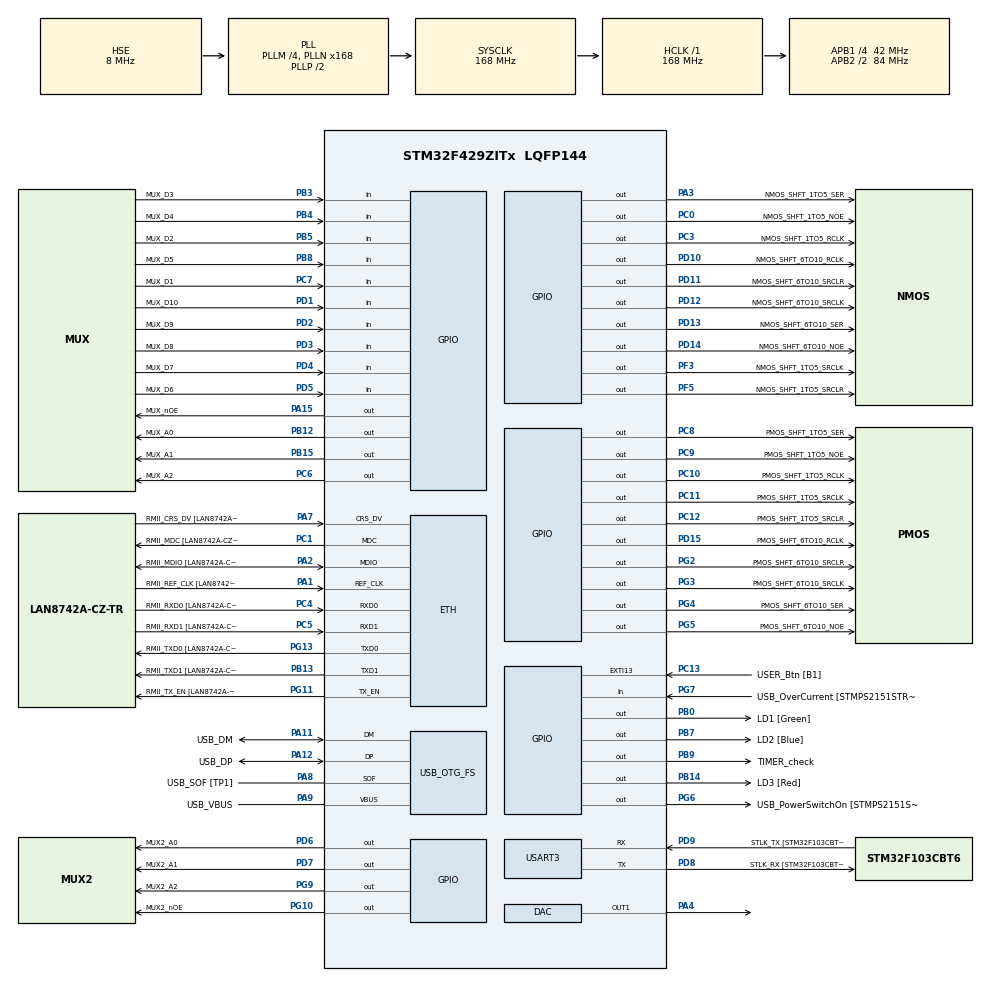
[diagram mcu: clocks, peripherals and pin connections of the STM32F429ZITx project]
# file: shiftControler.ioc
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ETH.MACAddr=00\:80\:E1\:01\:23\:45
ETH.MediaInterface=HAL_ETH_RMII_MODE
ETH.PHY_Name=LAN8742A_PHY_ADDRESS
ETH.PHY_Value=0
ETH.PhyAddress=0
FREERTOS.Tasks01=defaultTask,0,8192,StartDefaultTask,Default,NULL,Dynamic,NULL,NULL
FREERTOS.configRECORD_STACK_HIGH_ADDRESS=1
FREERTOS.configTOTAL_HEAP_SIZE=65536
FREERTOS.configUSE_NEWLIB_REENTRANT=0
LWIP.BSP.number=1
LWIP.GATEWAY_ADDRESS=192.168.000.001
LWIP.IP_ADDRESS=192.168.000.069
LWIP.LWIP_DHCP=1
LWIP.LWIP_IPV6=0
LWIP.LWIP_SNTP=0
LWIP.MEM_SIZE=1600
LWIP.NETMASK_ADDRESS=255.255.255.000
LWIP.Version=v2.1.2_Cube
LWIP0.BSP.STBoard=false
LWIP0.BSP.api=BSP_COMPONENT_DRIVER
LWIP0.BSP.component=LAN8742
LWIP0.BSP.instance=LAN8742
LWIP0.BSP.name=Driver_PHY
LWIP0.BSP.semaphore=S_LAN8742
LWIP0.BSP.solution=LAN8742
Mcu.Family=STM32F4
Mcu.Name=STM32F429ZITx
Mcu.Package=LQFP144
NVIC.ETH_IRQn=true\:5\:0\:false\:false\:true\:true\:false\:true\:true
NVIC.PriorityGroup=NVIC_PRIORITYGROUP_4
NVIC.TIM1_TRG_COM_TIM11_IRQn=true\:5\:0\:true\:false\:true\:true\:true\:true\:true
NVIC.TIM8_TRG_COM_TIM14_IRQn=true\:15\:0\:false\:false\:true\:false\:false\:true\:true
NVIC.TimeBase=TIM8_TRG_COM_TIM14_IRQn
NVIC.TimeBaseIP=TIM14
PA1.GPIO_Label=RMII_REF_CLK [LAN8742A-CZ-TR_REFCLK0]
PA1.Mode=RMII
PA1.Signal=ETH_REF_CLK
PA10.GPIO_Label=USB_ID
PA10.Signal=USB_OTG_FS_ID
PA11.GPIO_Label=USB_DM
PA11.Mode=Device_Only
PA11.Signal=USB_OTG_FS_DM
PA12.GPIO_Label=USB_DP
PA12.Mode=Device_Only
PA12.Signal=USB_OTG_FS_DP
PA13.GPIO_Label=TMS
PA13.Mode=Serial_Wire
PA13.Signal=SYS_JTMS-SWDIO
PA14.GPIO_Label=TCK
PA14.Mode=Serial_Wire
PA14.Signal=SYS_JTCK-SWCLK
PA15.GPIO_Label=MUX_nOE
PA15.Signal=GPIO_Output
PA2.GPIO_Label=RMII_MDIO [LAN8742A-CZ-TR_MDIO]
PA2.Mode=RMII
PA2.Signal=ETH_MDIO
PA3.GPIO_Label=NMOS_SHFT_1TO5_SER
PA3.GPIO_Speed=GPIO_SPEED_FREQ_HIGH
PA3.Signal=GPIO_Output
PA4.Signal=COMP_DAC1_group
PA7.GPIO_Label=RMII_CRS_DV [LAN8742A-CZ-TR_CRS_DV]
PA7.Mode=RMII
PA7.Signal=ETH_CRS_DV
PA8.GPIO_Label=USB_SOF [TP1]
PA8.Mode=Activate_SOF_FS
PA8.Signal=USB_OTG_FS_SOF
PA9.GPIO_Label=USB_VBUS
PA9.Mode=Activate_VBUS
PA9.Signal=USB_OTG_FS_VBUS
PB0.GPIO_Label=LD1 [Green]
PB0.Signal=GPIO_Output
PB12.GPIO_Label=MUX_A0
PB12.GPIO_Speed=GPIO_SPEED_FREQ_HIGH
PB12.Signal=GPIO_Output
PB13.GPIO_Label=RMII_TXD1 [LAN8742A-CZ-TR_TXD1]
PB13.Mode=RMII
PB13.Signal=ETH_TXD1
PB14.GPIO_Label=LD3 [Red]
PB14.Signal=GPIO_Output
PB15.GPIO_Label=MUX_A1
PB15.GPIO_Speed=GPIO_SPEED_FREQ_HIGH
PB15.Signal=GPIO_Output
PB3.GPIO_Label=MUX_D3
PB3.Signal=GPIO_Input
PB4.GPIO_Label=MUX_D4
PB4.Signal=GPIO_Input
PB5.GPIO_Label=MUX_D2
PB5.Signal=GPIO_Input
PB7.GPIO_Label=LD2 [Blue]
PB7.Signal=GPIO_Output
PB8.GPIO_Label=MUX_D5
PB8.Signal=GPIO_Input
PB9.GPIO_Label=TIMER_check
PB9.GPIO_Speed=GPIO_SPEED_FREQ_VERY_HIGH
PB9.Signal=GPIO_Output
PC0.GPIO_Label=NMOS_SHFT_1TO5_NOE
PC0.GPIO_Speed=GPIO_SPEED_FREQ_HIGH
PC0.Signal=GPIO_Output
PC1.GPIO_Label=RMII_MDC [LAN8742A-CZ-TR_MDC]
PC1.Mode=RMII
PC1.Signal=ETH_MDC
PC10.GPIO_Label=PMOS_SHFT_1TO5_RCLK
PC10.Signal=GPIO_Output
PC11.GPIO_Label=PMOS_SHFT_1TO5_SRCLK
PC11.Signal=GPIO_Output
PC12.GPIO_Label=PMOS_SHFT_1TO5_SRCLR
PC12.Signal=GPIO_Output
PC13.GPIO_Label=USER_Btn [B1]
PC13.Signal=GPXTI13
PC14/OSC32_IN.Mode=LSE-External-Oscillator
PC14/OSC32_IN.Signal=RCC_OSC32_IN
PC15/OSC32_OUT.Mode=LSE-External-Oscillator
PC15/OSC32_OUT.Signal=RCC_OSC32_OUT
PC3.GPIO_Label=NMOS_SHFT_1TO5_RCLK
PC3.GPIO_Speed=GPIO_SPEED_FREQ_HIGH
PC3.Signal=GPIO_Output
PC4.GPIO_Label=RMII_RXD0 [LAN8742A-CZ-TR_RXD0]
PC4.Mode=RMII
PC4.Signal=ETH_RXD0
PC5.GPIO_Label=RMII_RXD1 [LAN8742A-CZ-TR_RXD1]
PC5.Mode=RMII
PC5.Signal=ETH_RXD1
PC6.GPIO_Label=MUX_A2
PC6.GPIO_Speed=GPIO_SPEED_FREQ_HIGH
PC6.Signal=GPIO_Output
PC7.GPIO_Label=MUX_D1
PC7.Signal=GPIO_Input
PC8.GPIO_Label=PMOS_SHFT_1TO5_SER
PC8.Signal=GPIO_Output
PC9.GPIO_Label=PMOS_SHFT_1TO5_NOE
PC9.Signal=GPIO_Output
PD1.GPIO_Label=MUX_D10
PD1.Signal=GPIO_Input
PD10.GPIO_Label=NMOS_SHFT_6TO10_RCLK
PD10.Signal=GPIO_Output
PD11.GPIO_Label=NMOS_SHFT_6TO10_SRCLR
PD11.Signal=GPIO_Output
PD12.GPIO_Label=NMOS_SHFT_6TO10_SRCLK
PD12.Signal=GPIO_Output
PD13.GPIO_Label=NMOS_SHFT_6TO10_SER
PD13.Signal=GPIO_Output
PD14.GPIO_Label=NMOS_SHFT_6TO10_NOE
PD14.Signal=GPIO_Output
PD15.GPIO_Label=PMOS_SHFT_6TO10_RCLK
PD15.Signal=GPIO_Output
PD2.GPIO_Label=MUX_D9
PD2.Signal=GPIO_Input
PD3.GPIO_Label=MUX_D8
PD3.Signal=GPIO_Input
PD4.GPIO_Label=MUX_D7
PD4.Signal=GPIO_Input
PD5.GPIO_Label=MUX_D6
PD5.Signal=GPIO_Input
PD6.GPIO_Label=MUX2_A0
PD6.Signal=GPIO_Output
PD7.GPIO_Label=MUX2_A1
PD7.Signal=GPIO_Output
PD8.GPIO_Label=STLK_RX [STM32F103CBT6_PA3]
PD8.Mode=Asynchronous
PD8.Signal=USART3_TX
PD9.GPIO_Label=STLK_TX [STM32F103CBT6_PA2]
PD9.Mode=Asynchronous
PD9.Signal=USART3_RX
PF3.GPIO_Label=NMOS_SHFT_1TO5_SRCLK
PF3.GPIO_Speed=GPIO_SPEED_FREQ_HIGH
PF3.Signal=GPIO_Output
PF5.GPIO_Label=NMOS_SHFT_1TO5_SRCLR
PF5.GPIO_Speed=GPIO_SPEED_FREQ_HIGH
PF5.Signal=GPIO_Output
PG10.GPIO_Label=MUX2_nOE
PG10.Signal=GPIO_Output
PG11.GPIO_Label=RMII_TX_EN [LAN8742A-CZ-TR_TXEN]
PG11.Mode=RMII
PG11.Signal=ETH_TX_EN
PG13.GPIO_Label=RMII_TXD0 [LAN8742A-CZ-TR_TXD0]
PG13.Mode=RMII
PG13.Signal=ETH_TXD0
PG2.GPIO_Label=PMOS_SHFT_6TO10_SRCLR
PG2.Signal=GPIO_Output
PG3.GPIO_Label=PMOS_SHFT_6TO10_SRCLK
PG3.Signal=GPIO_Output
PG4.GPIO_Label=PMOS_SHFT_6TO10_SER
PG4.Signal=GPIO_Output
PG5.GPIO_Label=PMOS_SHFT_6TO10_NOE
PG5.Signal=GPIO_Output
PG6.GPIO_Label=USB_PowerSwitchOn [STMPS2151STR_EN]
PG6.Signal=GPIO_Output
PG7.GPIO_Label=USB_OverCurrent [STMPS2151STR_FAULT]
PG7.Signal=GPIO_Input
PG9.GPIO_Label=MUX2_A2
PG9.Signal=GPIO_Output
PH0/OSC_IN.GPIO_Label=MCO [STM32F103CBT6_PA8]
PH0/OSC_IN.Mode=HSE-External-Clock-Source
PH0/OSC_IN.Signal=RCC_OSC_IN
PH1/OSC_OUT.Mode=HSE-External-Clock-Source
PH1/OSC_OUT.Signal=RCC_OSC_OUT
ProjectManager.HeapSize=0x200
ProjectManager.StackSize=0x400
ProjectManager.TargetToolchain=Makefile
RCC.48MHZClocksFreq_Value=48000000
RCC.AHBFreq_Value=168000000
RCC.APB1CLKDivider=RCC_HCLK_DIV4
RCC.APB1Freq_Value=42000000
RCC.APB1TimFreq_Value=84000000
RCC.APB2CLKDivider=RCC_HCLK_DIV2
RCC.APB2Freq_Value=84000000
RCC.APB2TimCLKDivider=2
RCC.APB2TimFreq_Value=168000000
RCC.CortexFreq_Value=168000000
RCC.HCLKFreq_Value=168000000
RCC.HSE_VALUE=8000000
RCC.HSI_VALUE=16000000
RCC.PLLM=4
RCC.PLLMUL=RCC_PLL_MUL9
RCC.PLLN=168
RCC.PLLQ=7
RCC.PRESCALERUSB=RCC_USBCLKSOURCE_PLL_DIV1_5
RCC.SYSCLKFreq_VALUE=168000000
RCC.SYSCLKSource=RCC_SYSCLKSOURCE_PLLCLK
RCC.SYSCLKSourceVirtual=RCC_SYSCLKSOURCE_PLLCLK
RCC.USBFreq_Value=48000000
RCC.VCOOutputFreq_Value=336000000
SH.COMP_DAC1_group.0=DAC_OUT1,DAC_OUT1
TIM11.AutoReloadPreload=TIM_AUTORELOAD_PRELOAD_ENABLE
TIM11.Period=240-1
USART3.VirtualMode=VM_ASYNC
USB_OTG_FS.VirtualMode=Device_Only
VP_FREERTOS_VS_CMSIS_V1.Mode=CMSIS_V1
VP_LWIP_VS_Enabled.Mode=Enabled
VP_SYS_VS_tim14.Mode=TIM14
VP_TIM11_VS_ClockSourceINT.Mode=Enable_Timer
board=NUCLEO-F429ZI

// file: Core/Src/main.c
/* USER CODE BEGIN Header */
/**
  ******************************************************************************
  * @file           : main.c
  * @brief          : Main program body
  ******************************************************************************
  * @attention
  *
  * Copyright (c) 2023 STMicroelectronics.
  * All rights reserved.
  *
  * This software is licensed under terms that can be found in the LICENSE file
  * in the root directory of this software component.
  * If no LICENSE file comes with this software, it is provided AS-IS.
  *
  ******************************************************************************
  */
/* USER CODE END Header */
#include "main.h"
#include "cmsis_os.h"
#include "lwip.h"

/* USER CODE BEGIN Includes */
#include "stdio.h"
#include "tcpserver.h"
#include "globals.h"
/* USER CODE END Includes */

DAC_HandleTypeDef hdac;

TIM_HandleTypeDef htim11;

UART_HandleTypeDef huart3;

PCD_HandleTypeDef hpcd_USB_OTG_FS;

osThreadId defaultTaskHandle;
/* USER CODE BEGIN PV */

int _write(int fd, char* ptr, int len) {
    HAL_UART_Transmit(&huart3, (uint8_t *) ptr, len, HAL_MAX_DELAY);
    return len;
}

/* USER CODE END PV */

void SystemClock_Config(void);
static void MX_GPIO_Init(void);
static void MX_USART3_UART_Init(void);
static void MX_USB_OTG_FS_PCD_Init(void);
static void MX_DAC_Init(void);
static void MX_TIM11_Init(void);
void StartDefaultTask(void const * argument);

int main(void)
{

  /* MCU Configuration--------------------------------------------------------*/

  /* Reset of all peripherals, Initializes the Flash interface and the Systick. */
  HAL_Init();

  /* Configure the system clock */
  SystemClock_Config();

  /* Initialize all configured peripherals */
  MX_GPIO_Init();
  MX_USART3_UART_Init();
  MX_USB_OTG_FS_PCD_Init();
  MX_DAC_Init();
  MX_TIM11_Init();
  /* USER CODE BEGIN 2 */
  HAL_TIM_Base_Start_IT(&htim11);

  /* USER CODE END 2 */

  /* Create the thread(s) */
  /* definition and creation of defaultTask */
  osThreadDef(defaultTask, StartDefaultTask, osPriorityNormal, 0, 8192);
  defaultTaskHandle = osThreadCreate(osThread(defaultTask), NULL);

  /* Start scheduler */
  osKernelStart();

  /* We should never get here as control is now taken by the scheduler */
  /* Infinite loop */
  /* USER CODE BEGIN WHILE */
  while (1)
  {
    //printf("PRINTF\n");
    //HAL_UART_Transmit(&huart3, (uint8_t *) "RUNNING\n", 8, HAL_MAX_DELAY);

    /* USER CODE END WHILE */

  }
}

void SystemClock_Config(void)
{
  RCC_OscInitTypeDef RCC_OscInitStruct = {0};
  RCC_ClkInitTypeDef RCC_ClkInitStruct = {0};

  /** Configure the main internal regulator output voltage
  */
  __HAL_RCC_PWR_CLK_ENABLE();
  __HAL_PWR_VOLTAGESCALING_CONFIG(PWR_REGULATOR_VOLTAGE_SCALE1);

  /** Initializes the RCC Oscillators according to the specified parameters
  * in the RCC_OscInitTypeDef structure.
  */
  RCC_OscInitStruct.OscillatorType = RCC_OSCILLATORTYPE_HSE;
  RCC_OscInitStruct.HSEState = RCC_HSE_BYPASS;
  RCC_OscInitStruct.PLL.PLLState = RCC_PLL_ON;
  RCC_OscInitStruct.PLL.PLLSource = RCC_PLLSOURCE_HSE;
  RCC_OscInitStruct.PLL.PLLM = 4;
  RCC_OscInitStruct.PLL.PLLN = 168;
  RCC_OscInitStruct.PLL.PLLP = RCC_PLLP_DIV2;
  RCC_OscInitStruct.PLL.PLLQ = 7;
  if (HAL_RCC_OscConfig(&RCC_OscInitStruct) != HAL_OK)
  {
    Error_Handler();
  }

  /** Initializes the CPU, AHB and APB buses clocks
  */
  RCC_ClkInitStruct.ClockType = RCC_CLOCKTYPE_HCLK|RCC_CLOCKTYPE_SYSCLK
                              |RCC_CLOCKTYPE_PCLK1|RCC_CLOCKTYPE_PCLK2;
  RCC_ClkInitStruct.SYSCLKSource = RCC_SYSCLKSOURCE_PLLCLK;
  RCC_ClkInitStruct.AHBCLKDivider = RCC_SYSCLK_DIV1;
  RCC_ClkInitStruct.APB1CLKDivider = RCC_HCLK_DIV4;
  RCC_ClkInitStruct.APB2CLKDivider = RCC_HCLK_DIV2;

  if (HAL_RCC_ClockConfig(&RCC_ClkInitStruct, FLASH_LATENCY_5) != HAL_OK)
  {
    Error_Handler();
  }
}

static void MX_DAC_Init(void)
{

  DAC_ChannelConfTypeDef sConfig = {0};

  /** DAC Initialization
  */
  hdac.Instance = DAC;
  if (HAL_DAC_Init(&hdac) != HAL_OK)
  {
    Error_Handler();
  }

  /** DAC channel OUT1 config
  */
  sConfig.DAC_Trigger = DAC_TRIGGER_NONE;
  sConfig.DAC_OutputBuffer = DAC_OUTPUTBUFFER_ENABLE;
  if (HAL_DAC_ConfigChannel(&hdac, &sConfig, DAC_CHANNEL_1) != HAL_OK)
  {
    Error_Handler();
  }
  /* USER CODE BEGIN DAC_Init 2 */
  HAL_DAC_Start(&hdac, DAC_CHANNEL_1);

  /* USER CODE END DAC_Init 2 */

}

static void MX_TIM11_Init(void)
{

  htim11.Instance = TIM11;
  htim11.Init.Prescaler = 0;
  htim11.Init.CounterMode = TIM_COUNTERMODE_UP;
  htim11.Init.Period = 240-1;
  htim11.Init.ClockDivision = TIM_CLOCKDIVISION_DIV1;
  htim11.Init.AutoReloadPreload = TIM_AUTORELOAD_PRELOAD_ENABLE;
  if (HAL_TIM_Base_Init(&htim11) != HAL_OK)
  {
    Error_Handler();
  }

}

static void MX_USART3_UART_Init(void)
{

  huart3.Instance = USART3;
  huart3.Init.BaudRate = 115200;
  huart3.Init.WordLength = UART_WORDLENGTH_8B;
  huart3.Init.StopBits = UART_STOPBITS_1;
  huart3.Init.Parity = UART_PARITY_NONE;
  huart3.Init.Mode = UART_MODE_TX_RX;
  huart3.Init.HwFlowCtl = UART_HWCONTROL_NONE;
  huart3.Init.OverSampling = UART_OVERSAMPLING_16;
  if (HAL_UART_Init(&huart3) != HAL_OK)
  {
    Error_Handler();
  }

}

static void MX_USB_OTG_FS_PCD_Init(void)
{

  hpcd_USB_OTG_FS.Instance = USB_OTG_FS;
  hpcd_USB_OTG_FS.Init.dev_endpoints = 4;
  hpcd_USB_OTG_FS.Init.speed = PCD_SPEED_FULL;
  hpcd_USB_OTG_FS.Init.dma_enable = DISABLE;
  hpcd_USB_OTG_FS.Init.phy_itface = PCD_PHY_EMBEDDED;
  hpcd_USB_OTG_FS.Init.Sof_enable = ENABLE;
  hpcd_USB_OTG_FS.Init.low_power_enable = DISABLE;
  hpcd_USB_OTG_FS.Init.lpm_enable = DISABLE;
  hpcd_USB_OTG_FS.Init.vbus_sensing_enable = ENABLE;
  hpcd_USB_OTG_FS.Init.use_dedicated_ep1 = DISABLE;
  if (HAL_PCD_Init(&hpcd_USB_OTG_FS) != HAL_OK)
  {
    Error_Handler();
  }

}

static void MX_GPIO_Init(void)
{
  GPIO_InitTypeDef GPIO_InitStruct = {0};

  /* GPIO Ports Clock Enable */
  __HAL_RCC_GPIOC_CLK_ENABLE();
  __HAL_RCC_GPIOF_CLK_ENABLE();
  __HAL_RCC_GPIOH_CLK_ENABLE();
  __HAL_RCC_GPIOA_CLK_ENABLE();
  __HAL_RCC_GPIOB_CLK_ENABLE();
  __HAL_RCC_GPIOD_CLK_ENABLE();
  __HAL_RCC_GPIOG_CLK_ENABLE();

  /*Configure GPIO pin Output Level */
  HAL_GPIO_WritePin(GPIOF, NMOS_SHFT_1TO5_SRCLK_Pin|NMOS_SHFT_1TO5_SRCLR_Pin, GPIO_PIN_RESET);

  /*Configure GPIO pin Output Level */
  HAL_GPIO_WritePin(GPIOC, NMOS_SHFT_1TO5_NOE_Pin|NMOS_SHFT_1TO5_RCLK_Pin|MUX_A2_Pin|PMOS_SHFT_1TO5_SER_Pin
                          |PMOS_SHFT_1TO5_NOE_Pin|PMOS_SHFT_1TO5_RCLK_Pin|PMOS_SHFT_1TO5_SRCLK_Pin|PMOS_SHFT_1TO5_SRCLR_Pin, GPIO_PIN_RESET);

  /*Configure GPIO pin Output Level */
  HAL_GPIO_WritePin(GPIOA, NMOS_SHFT_1TO5_SER_Pin|MUX_nOE_Pin, GPIO_PIN_RESET);

  /*Configure GPIO pin Output Level */
  HAL_GPIO_WritePin(GPIOB, LD1_Pin|MUX_A0_Pin|LD3_Pin|MUX_A1_Pin
                          |LD2_Pin|TIMER_check_Pin, GPIO_PIN_RESET);

  /*Configure GPIO pin Output Level */
  HAL_GPIO_WritePin(GPIOD, NMOS_SHFT_6TO10_RCLK_Pin|NMOS_SHFT_6TO10_SRCLR_Pin|NMOS_SHFT_6TO10_SRCLK_Pin|NMOS_SHFT_6TO10_SER_Pin
                          |NMOS_SHFT_6TO10_NOE_Pin|PMOS_SHFT_6TO10_RCLK_Pin|MUX2_A0_Pin|MUX2_A1_Pin, GPIO_PIN_RESET);

  /*Configure GPIO pin Output Level */
  HAL_GPIO_WritePin(GPIOG, PMOS_SHFT_6TO10_SRCLR_Pin|PMOS_SHFT_6TO10_SRCLK_Pin|PMOS_SHFT_6TO10_SER_Pin|PMOS_SHFT_6TO10_NOE_Pin
                          |USB_PowerSwitchOn_Pin|MUX2_A2_Pin|MUX2_nOE_Pin, GPIO_PIN_RESET);

  /*Configure GPIO pin : USER_Btn_Pin */
  GPIO_InitStruct.Pin = USER_Btn_Pin;
  GPIO_InitStruct.Mode = GPIO_MODE_IT_RISING;
  GPIO_InitStruct.Pull = GPIO_NOPULL;
  HAL_GPIO_Init(USER_Btn_GPIO_Port, &GPIO_InitStruct);

  /*Configure GPIO pins : NMOS_SHFT_1TO5_SRCLK_Pin NMOS_SHFT_1TO5_SRCLR_Pin */
  GPIO_InitStruct.Pin = NMOS_SHFT_1TO5_SRCLK_Pin|NMOS_SHFT_1TO5_SRCLR_Pin;
  GPIO_InitStruct.Mode = GPIO_MODE_OUTPUT_PP;
  GPIO_InitStruct.Pull = GPIO_NOPULL;
  GPIO_InitStruct.Speed = GPIO_SPEED_FREQ_HIGH;
  HAL_GPIO_Init(GPIOF, &GPIO_InitStruct);

  /*Configure GPIO pins : NMOS_SHFT_1TO5_NOE_Pin NMOS_SHFT_1TO5_RCLK_Pin MUX_A2_Pin */
  GPIO_InitStruct.Pin = NMOS_SHFT_1TO5_NOE_Pin|NMOS_SHFT_1TO5_RCLK_Pin|MUX_A2_Pin;
  GPIO_InitStruct.Mode = GPIO_MODE_OUTPUT_PP;
  GPIO_InitStruct.Pull = GPIO_NOPULL;
  GPIO_InitStruct.Speed = GPIO_SPEED_FREQ_HIGH;
  HAL_GPIO_Init(GPIOC, &GPIO_InitStruct);

  /*Configure GPIO pin : NMOS_SHFT_1TO5_SER_Pin */
  GPIO_InitStruct.Pin = NMOS_SHFT_1TO5_SER_Pin;
  GPIO_InitStruct.Mode = GPIO_MODE_OUTPUT_PP;
  GPIO_InitStruct.Pull = GPIO_NOPULL;
  GPIO_InitStruct.Speed = GPIO_SPEED_FREQ_HIGH;
  HAL_GPIO_Init(NMOS_SHFT_1TO5_SER_GPIO_Port, &GPIO_InitStruct);

  /*Configure GPIO pins : LD1_Pin LD3_Pin LD2_Pin */
  GPIO_InitStruct.Pin = LD1_Pin|LD3_Pin|LD2_Pin;
  GPIO_InitStruct.Mode = GPIO_MODE_OUTPUT_PP;
  GPIO_InitStruct.Pull = GPIO_NOPULL;
  GPIO_InitStruct.Speed = GPIO_SPEED_FREQ_LOW;
  HAL_GPIO_Init(GPIOB, &GPIO_InitStruct);

  /*Configure GPIO pins : MUX_A0_Pin MUX_A1_Pin */
  GPIO_InitStruct.Pin = MUX_A0_Pin|MUX_A1_Pin;
  GPIO_InitStruct.Mode = GPIO_MODE_OUTPUT_PP;
  GPIO_InitStruct.Pull = GPIO_NOPULL;
  GPIO_InitStruct.Speed = GPIO_SPEED_FREQ_HIGH;
  HAL_GPIO_Init(GPIOB, &GPIO_InitStruct);

  /*Configure GPIO pins : NMOS_SHFT_6TO10_RCLK_Pin NMOS_SHFT_6TO10_SRCLR_Pin NMOS_SHFT_6TO10_SRCLK_Pin NMOS_SHFT_6TO10_SER_Pin
                           NMOS_SHFT_6TO10_NOE_Pin PMOS_SHFT_6TO10_RCLK_Pin MUX2_A0_Pin MUX2_A1_Pin */
  GPIO_InitStruct.Pin = NMOS_SHFT_6TO10_RCLK_Pin|NMOS_SHFT_6TO10_SRCLR_Pin|NMOS_SHFT_6TO10_SRCLK_Pin|NMOS_SHFT_6TO10_SER_Pin
                          |NMOS_SHFT_6TO10_NOE_Pin|PMOS_SHFT_6TO10_RCLK_Pin|MUX2_A0_Pin|MUX2_A1_Pin;
  GPIO_InitStruct.Mode = GPIO_MODE_OUTPUT_PP;
  GPIO_InitStruct.Pull = GPIO_NOPULL;
  GPIO_InitStruct.Speed = GPIO_SPEED_FREQ_LOW;
  HAL_GPIO_Init(GPIOD, &GPIO_InitStruct);

  /*Configure GPIO pins : PMOS_SHFT_6TO10_SRCLR_Pin PMOS_SHFT_6TO10_SRCLK_Pin PMOS_SHFT_6TO10_SER_Pin PMOS_SHFT_6TO10_NOE_Pin
                           USB_PowerSwitchOn_Pin MUX2_A2_Pin MUX2_nOE_Pin */
  GPIO_InitStruct.Pin = PMOS_SHFT_6TO10_SRCLR_Pin|PMOS_SHFT_6TO10_SRCLK_Pin|PMOS_SHFT_6TO10_SER_Pin|PMOS_SHFT_6TO10_NOE_Pin
                          |USB_PowerSwitchOn_Pin|MUX2_A2_Pin|MUX2_nOE_Pin;
  GPIO_InitStruct.Mode = GPIO_MODE_OUTPUT_PP;
  GPIO_InitStruct.Pull = GPIO_NOPULL;
  GPIO_InitStruct.Speed = GPIO_SPEED_FREQ_LOW;
  HAL_GPIO_Init(GPIOG, &GPIO_InitStruct);

  /*Configure GPIO pin : USB_OverCurrent_Pin */
  GPIO_InitStruct.Pin = USB_OverCurrent_Pin;
  GPIO_InitStruct.Mode = GPIO_MODE_INPUT;
  GPIO_InitStruct.Pull = GPIO_NOPULL;
  HAL_GPIO_Init(USB_OverCurrent_GPIO_Port, &GPIO_InitStruct);

  /*Configure GPIO pin : MUX_D1_Pin */
  GPIO_InitStruct.Pin = MUX_D1_Pin;
  GPIO_InitStruct.Mode = GPIO_MODE_INPUT;
  GPIO_InitStruct.Pull = GPIO_NOPULL;
  HAL_GPIO_Init(MUX_D1_GPIO_Port, &GPIO_InitStruct);

  /*Configure GPIO pins : PMOS_SHFT_1TO5_SER_Pin PMOS_SHFT_1TO5_NOE_Pin PMOS_SHFT_1TO5_RCLK_Pin PMOS_SHFT_1TO5_SRCLK_Pin
                           PMOS_SHFT_1TO5_SRCLR_Pin */
  GPIO_InitStruct.Pin = PMOS_SHFT_1TO5_SER_Pin|PMOS_SHFT_1TO5_NOE_Pin|PMOS_SHFT_1TO5_RCLK_Pin|PMOS_SHFT_1TO5_SRCLK_Pin
                          |PMOS_SHFT_1TO5_SRCLR_Pin;
  GPIO_InitStruct.Mode = GPIO_MODE_OUTPUT_PP;
  GPIO_InitStruct.Pull = GPIO_NOPULL;
  GPIO_InitStruct.Speed = GPIO_SPEED_FREQ_LOW;
  HAL_GPIO_Init(GPIOC, &GPIO_InitStruct);

  /*Configure GPIO pin : MUX_nOE_Pin */
  GPIO_InitStruct.Pin = MUX_nOE_Pin;
  GPIO_InitStruct.Mode = GPIO_MODE_OUTPUT_PP;
  GPIO_InitStruct.Pull = GPIO_NOPULL;
  GPIO_InitStruct.Speed = GPIO_SPEED_FREQ_LOW;
  HAL_GPIO_Init(MUX_nOE_GPIO_Port, &GPIO_InitStruct);

  /*Configure GPIO pins : MUX_D10_Pin MUX_D9_Pin MUX_D8_Pin MUX_D7_Pin
                           MUX_D6_Pin */
  GPIO_InitStruct.Pin = MUX_D10_Pin|MUX_D9_Pin|MUX_D8_Pin|MUX_D7_Pin
                          |MUX_D6_Pin;
  GPIO_InitStruct.Mode = GPIO_MODE_INPUT;
  GPIO_InitStruct.Pull = GPIO_NOPULL;
  HAL_GPIO_Init(GPIOD, &GPIO_InitStruct);

  /*Configure GPIO pins : MUX_D3_Pin MUX_D4_Pin MUX_D2_Pin MUX_D5_Pin */
  GPIO_InitStruct.Pin = MUX_D3_Pin|MUX_D4_Pin|MUX_D2_Pin|MUX_D5_Pin;
  GPIO_InitStruct.Mode = GPIO_MODE_INPUT;
  GPIO_InitStruct.Pull = GPIO_NOPULL;
  HAL_GPIO_Init(GPIOB, &GPIO_InitStruct);

  /*Configure GPIO pin : TIMER_check_Pin */
  GPIO_InitStruct.Pin = TIMER_check_Pin;
  GPIO_InitStruct.Mode = GPIO_MODE_OUTPUT_PP;
  GPIO_InitStruct.Pull = GPIO_NOPULL;
  GPIO_InitStruct.Speed = GPIO_SPEED_FREQ_VERY_HIGH;
  HAL_GPIO_Init(TIMER_check_GPIO_Port, &GPIO_InitStruct);

}

void StartDefaultTask(void const * argument)
{
  /* init code for LWIP */
  MX_LWIP_Init();
  /* USER CODE BEGIN 5 */
  tcp_server_init();
  printf("TCP Server started\n");
  printf("DELAY 25us\n");
  _2500_ns_delay(40);
  printf("BOOTED FROM DFU\n");
  HAL_GPIO_WritePin(MUX_nOE_GPIO_Port, MUX_nOE_Pin, GPIO_PIN_RESET);
  HAL_GPIO_WritePin(MUX_A0_GPIO_Port, MUX_A0_Pin, GPIO_PIN_RESET);
  HAL_GPIO_WritePin(MUX_A1_GPIO_Port, MUX_A1_Pin, GPIO_PIN_RESET);
  HAL_GPIO_WritePin(MUX_A2_GPIO_Port, MUX_A2_Pin, GPIO_PIN_RESET);
  HAL_GPIO_WritePin(NMOS_SHFT_1TO5_SRCLR_GPIO_Port, NMOS_SHFT_1TO5_SRCLR_Pin, GPIO_PIN_RESET);
  HAL_GPIO_WritePin(NMOS_SHFT_1TO5_NOE_GPIO_Port, NMOS_SHFT_1TO5_NOE_Pin, GPIO_PIN_RESET);
  /* Infinite loop */
  for(;;)
  {
    osDelay(1);
  }
  /* USER CODE END 5 */
}

void HAL_TIM_PeriodElapsedCallback(TIM_HandleTypeDef *htim)
{
  /* USER CODE BEGIN Callback 0 */
  if (htim->Instance == TIM11) {
    _us_tick++;
  }

  /* USER CODE END Callback 0 */
  if (htim->Instance == TIM14) {
    HAL_IncTick();
  }
}

void Error_Handler(void)
{
  __disable_irq();
  while (1)
  {
  }
}
